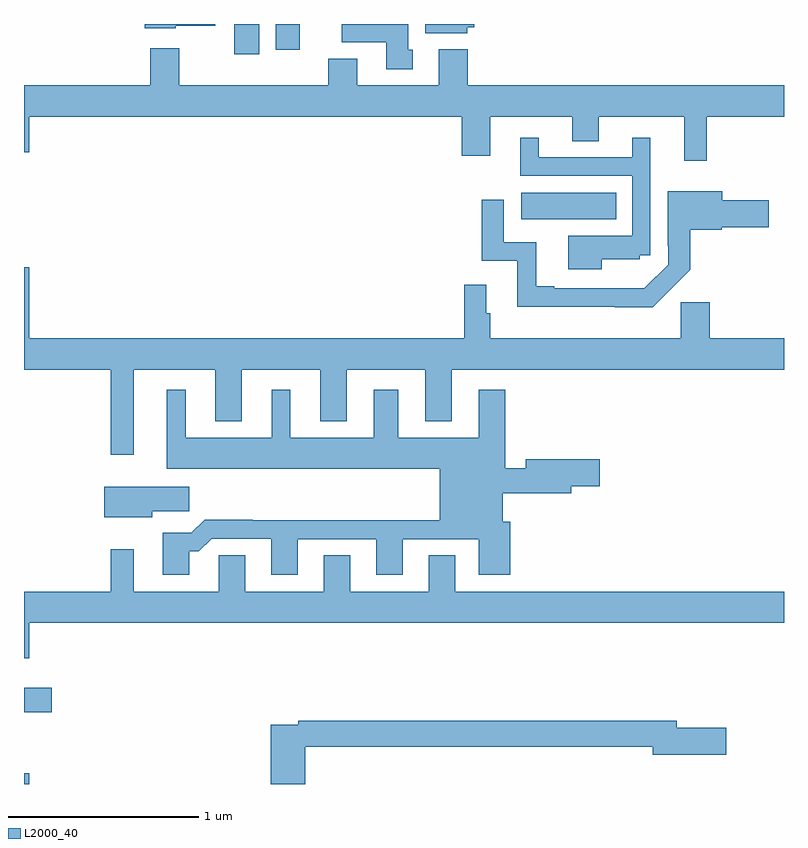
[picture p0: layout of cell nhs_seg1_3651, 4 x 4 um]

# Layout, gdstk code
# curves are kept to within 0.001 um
import gdstk
lib = gdstk.Library(unit=1e-6, precision=1e-09)
def R(c, l, rs):  # rectangles x0, y0, x1, y1
    for r in rs: c.add(gdstk.rectangle(r[:2], r[2:], *l))
def P(c, l, *ps):  # polygons
    for p in ps: c.add(gdstk.Polygon(p, *l))
L2000_40 = (2000, 40)

nhs_seg1_3651 = lib.new_cell('nhs_seg1_3651')
R(nhs_seg1_3651, L2000_40, [(309,568.199,309.028,568.255), (309,568.576,309.145,568.705), (311.616,571.172,312.116,571.312), (310.106,572.04,310.237,572.199), (310.325,572.064,310.45,572.199)])
P(nhs_seg1_3651, L2000_40, [(311.334,572.181),(311.369,572.181),(311.369,572.199),(311.111,572.199),(311.111,572.15),(311.334,572.15)],
  [(311.047,572.064),(311.023,572.064),(311.023,572.199),(310.672,572.199),(310.672,572.102),(310.907,572.102),(310.907,571.962),(311.047,571.962)],
  [(309.798,572.189),(310.006,572.189),(310.006,572.199),(309.636,572.199),(309.636,572.177),(309.798,572.177)],
  [(312.593,571.712),(313,571.712),(313,571.876),(311.336,571.876),(311.336,572.065),(311.183,572.065),(311.183,571.876),(310.753,571.876),(310.753,572.017),(310.601,572.017),(310.601,571.876),(309.817,571.876),(309.817,572.071),(309.665,572.071),(309.665,571.876),(309,571.876),(309,571.524),(309.028,571.524),(309.028,571.712),(311.303,571.712),(311.303,571.506),(311.455,571.506),(311.455,571.712),(311.885,571.712),(311.885,571.582),(312.025,571.582),(312.025,571.712),(312.476,571.712),(312.476,571.479),(312.593,571.479)],
  [(312.04,570.962),(312.24,570.962),(312.24,570.981),(312.297,570.981),(312.297,571.6),(312.2,571.6),(312.2,571.497),(311.71,571.497),(311.71,571.6),(311.612,571.6),(311.612,571.401),(312.201,571.401),(312.201,571.084),(311.864,571.084),(311.864,570.908),(312.04,570.908)],
  [(312.506,570.905),(312.506,571.117),(312.672,571.117),(312.672,571.13),(312.919,571.13),(312.919,571.272),(312.676,571.272),(312.676,571.318),(312.387,571.318),(312.387,571.033),(312.39,571.033),(312.39,570.933),(312.265,570.808),(311.791,570.807),(311.791,570.82),(311.695,570.82),(311.695,571.05),(311.526,571.05),(311.526,571.273),(311.41,571.273),(311.41,570.954),(311.597,570.954),(311.597,570.71),(312.109,570.71),(312.109,570.708),(312.308,570.708)],
  [(309.028,570.919),(309,570.919),(309,570.38),(309.456,570.38),(309.456,569.931),(309.577,569.931),(309.577,570.38),(310.007,570.38),(310.007,570.107),(310.147,570.107),(310.147,570.38),(310.559,570.38),(310.559,570.107),(310.699,570.107),(310.699,570.38),(311.111,570.38),(311.111,570.107),(311.251,570.107),(311.251,570.38),(313,570.38),(313,570.544),(312.608,570.544),(312.608,570.735),(312.457,570.735),(312.457,570.544),(311.453,570.544),(311.453,570.677),(311.434,570.677),(311.434,570.826),(311.317,570.826),(311.317,570.544),(309.028,570.544)],
  [(309.871,569.423),(309.92,569.423),(309.987,569.49),(310.301,569.49),(310.301,569.301),(310.441,569.301),(310.441,569.487),(310.853,569.487),(310.853,569.301),(310.993,569.301),(310.993,569.487),(311.393,569.487),(311.393,569.301),(311.558,569.301),(311.558,569.58),(311.521,569.58),(311.521,569.728),(311.881,569.728),(311.881,569.765),(312.031,569.765),(312.031,569.907),(311.642,569.907),(311.642,569.86),(311.534,569.86),(311.534,570.274),(311.393,570.274),(311.393,570.022),(310.969,570.022),(310.969,570.274),(310.841,570.274),(310.841,570.022),(310.402,570.022),(310.402,570.274),(310.304,570.274),(310.304,570.022),(309.85,570.022),(309.85,570.274),(309.752,570.274),(309.752,569.858),(311.189,569.858),(311.189,569.588),(310.205,569.588),(310.205,569.591),(309.95,569.591),(309.88,569.521),(309.731,569.521),(309.731,569.301),(309.871,569.301)],
  [(309.676,569.635),(309.871,569.635),(309.871,569.764),(309.422,569.764),(309.422,569.603),(309.676,569.603)],
  [(309.028,569.048),(313,569.048),(313,569.212),(311.269,569.212),(311.269,569.402),(311.129,569.402),(311.129,569.212),(310.717,569.212),(310.717,569.402),(310.577,569.402),(310.577,569.212),(310.165,569.212),(310.165,569.402),(310.026,569.402),(310.026,569.212),(309.577,569.212),(309.577,569.434),(309.456,569.434),(309.456,569.212),(309,569.212),(309,568.86),(309.028,568.86)],
  [(310.481,568.396),(312.308,568.396),(312.308,568.354),(312.697,568.354),(312.697,568.496),(312.436,568.496),(312.436,568.532),(310.444,568.532),(310.444,568.512),(310.298,568.512),(310.298,568.199),(310.481,568.199)])

lib.write_gds('nhs_seg1_3651.gds')
